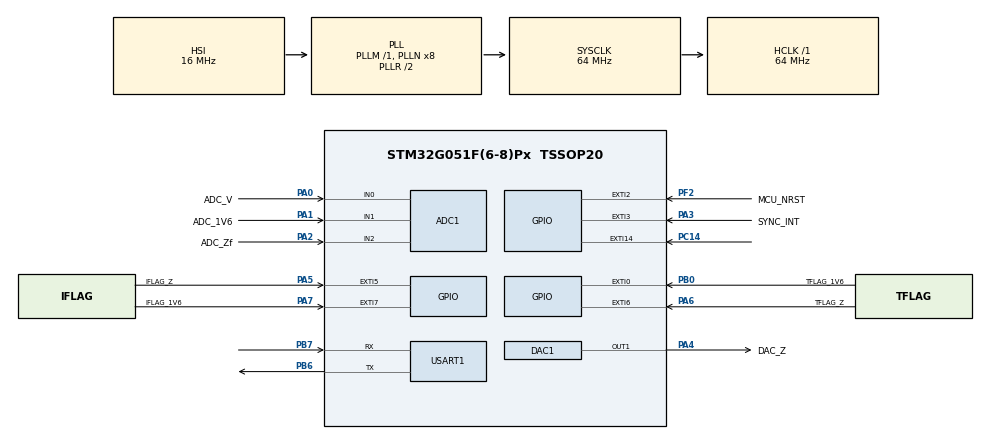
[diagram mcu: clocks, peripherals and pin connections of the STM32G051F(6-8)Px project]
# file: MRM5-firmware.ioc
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ADC1.Channel-0\#ChannelRegularConversion=ADC_CHANNEL_0
ADC1.Channel-1\#ChannelRegularConversion=ADC_CHANNEL_1
ADC1.Channel-2\#ChannelRegularConversion=ADC_CHANNEL_2
ADC1.ContinuousConvMode=ENABLE
ADC1.DMAContinuousRequests=DISABLE
ADC1.DiscontinuousConvMode=DISABLE
ADC1.EOCSelection=ADC_EOC_SEQ_CONV
ADC1.NbrOfConversion=3
ADC1.NbrOfConversionFlag=1
ADC1.Rank-0\#ChannelRegularConversion=1
ADC1.Rank-1\#ChannelRegularConversion=2
ADC1.Rank-2\#ChannelRegularConversion=3
ADC1.SamplingTime-0\#ChannelRegularConversion=ADC_SAMPLINGTIME_COMMON_1
ADC1.SamplingTime-1\#ChannelRegularConversion=ADC_SAMPLINGTIME_COMMON_1
ADC1.SamplingTime-2\#ChannelRegularConversion=ADC_SAMPLINGTIME_COMMON_1
ADC1.SamplingTimeCommon1=ADC_SAMPLETIME_12CYCLES_5
ADC1.SamplingTimeCommon2=ADC_SAMPLETIME_79CYCLES_5
ADC1.SelectedChannel=ADC_CHANNEL_0|ADC_CHANNEL_1|ADC_CHANNEL_2
ADC1.master=1
DAC1.DAC_Channel-DAC_OUT1=DAC_CHANNEL_1
Dma.ADC1.0.Direction=DMA_PERIPH_TO_MEMORY
Dma.ADC1.0.EventEnable=DISABLE
Dma.ADC1.0.Instance=DMA1_Channel1
Dma.ADC1.0.MemDataAlignment=DMA_MDATAALIGN_HALFWORD
Dma.ADC1.0.MemInc=DMA_MINC_ENABLE
Dma.ADC1.0.Mode=DMA_NORMAL
Dma.ADC1.0.PeriphDataAlignment=DMA_PDATAALIGN_HALFWORD
Dma.ADC1.0.PeriphInc=DMA_PINC_DISABLE
Dma.ADC1.0.Polarity=HAL_DMAMUX_REQ_GEN_RISING
Dma.ADC1.0.Priority=DMA_PRIORITY_LOW
Dma.ADC1.0.RequestNumber=1
Dma.ADC1.0.SignalID=NONE
Dma.ADC1.0.SyncEnable=DISABLE
Dma.ADC1.0.SyncPolarity=HAL_DMAMUX_SYNC_NO_EVENT
Dma.ADC1.0.SyncRequestNumber=1
Dma.ADC1.0.SyncSignalID=NONE
Dma.Request0=ADC1
Dma.Request1=USART1_RX
Dma.Request2=USART1_TX
Dma.USART1_RX.1.Direction=DMA_PERIPH_TO_MEMORY
Dma.USART1_RX.1.EventEnable=DISABLE
Dma.USART1_RX.1.Instance=DMA1_Channel2
Dma.USART1_RX.1.MemDataAlignment=DMA_MDATAALIGN_BYTE
Dma.USART1_RX.1.MemInc=DMA_MINC_ENABLE
Dma.USART1_RX.1.Mode=DMA_NORMAL
Dma.USART1_RX.1.PeriphDataAlignment=DMA_PDATAALIGN_BYTE
Dma.USART1_RX.1.PeriphInc=DMA_PINC_DISABLE
Dma.USART1_RX.1.Polarity=HAL_DMAMUX_REQ_GEN_RISING
Dma.USART1_RX.1.Priority=DMA_PRIORITY_LOW
Dma.USART1_RX.1.RequestNumber=1
Dma.USART1_RX.1.SignalID=NONE
Dma.USART1_RX.1.SyncEnable=DISABLE
Dma.USART1_RX.1.SyncPolarity=HAL_DMAMUX_SYNC_NO_EVENT
Dma.USART1_RX.1.SyncRequestNumber=1
Dma.USART1_RX.1.SyncSignalID=NONE
Dma.USART1_TX.2.Direction=DMA_MEMORY_TO_PERIPH
Dma.USART1_TX.2.EventEnable=DISABLE
Dma.USART1_TX.2.Instance=DMA1_Channel3
Dma.USART1_TX.2.MemDataAlignment=DMA_MDATAALIGN_BYTE
Dma.USART1_TX.2.MemInc=DMA_MINC_ENABLE
Dma.USART1_TX.2.Mode=DMA_NORMAL
Dma.USART1_TX.2.PeriphDataAlignment=DMA_PDATAALIGN_BYTE
Dma.USART1_TX.2.PeriphInc=DMA_PINC_DISABLE
Dma.USART1_TX.2.Polarity=HAL_DMAMUX_REQ_GEN_RISING
Dma.USART1_TX.2.Priority=DMA_PRIORITY_LOW
Dma.USART1_TX.2.RequestNumber=1
Dma.USART1_TX.2.SignalID=NONE
Dma.USART1_TX.2.SyncEnable=DISABLE
Dma.USART1_TX.2.SyncPolarity=HAL_DMAMUX_SYNC_NO_EVENT
Dma.USART1_TX.2.SyncRequestNumber=1
Dma.USART1_TX.2.SyncSignalID=NONE
Mcu.Family=STM32G0
Mcu.Name=STM32G051F(6-8)Px
Mcu.Package=TSSOP20
NVIC.ADC1_COMP_IRQn=true\:0\:0\:false\:false\:true\:true\:true\:true
NVIC.DMA1_Channel1_IRQn=true\:0\:0\:false\:false\:true\:false\:true\:true
NVIC.DMA1_Channel2_3_IRQn=true\:0\:0\:false\:false\:true\:false\:true\:true
NVIC.TIM2_IRQn=true\:0\:0\:false\:false\:true\:true\:true\:true
NVIC.USART1_IRQn=true\:0\:0\:false\:false\:true\:true\:true\:true
PA0.GPIO_Label=ADC_V
PA0.Mode=IN0
PA0.Signal=ADC1_IN0
PA1.GPIO_Label=ADC_1V6
PA1.Mode=IN1
PA1.Signal=ADC1_IN1
PA13.Mode=Serial_Wire
PA13.Signal=SYS_SWDIO
PA14-BOOT0.Mode=Serial_Wire
PA14-BOOT0.Signal=SYS_SWCLK
PA14-BOOT0__PA15.StandardMode=true
PA2.GPIO_Label=ADC_Zf
PA2.Mode=IN2
PA2.Signal=ADC1_IN2
PA3.GPIO_Label=SYNC_INT
PA3.Signal=GPXTI3
PA4.GPIO_Label=DAC_Z
PA4.Signal=COMP_DAC11_group
PA5.GPIO_Label=IFLAG_Z
PA5.Signal=GPXTI5
PA6.GPIO_Label=TFLAG_Z
PA6.Signal=GPXTI6
PA7.GPIO_Label=IFLAG_1V6
PA7.Signal=GPXTI7
PB0.GPIO_Label=TFLAG_1V6
PB0.Signal=GPXTI0
PB0__PB1__PB2__PA8.StandardMode=true
PB3__PB4__PB5__PB6.StandardMode=true
PB6.Mode=Asynchronous
PB6.Signal=USART1_TX
PB7.Mode=Asynchronous
PB7.Signal=USART1_RX
PB7__PB8.StandardMode=true
PC14-OSC32_IN\ (PC14).Signal=GPXTI14
PC14-OSC32_IN\ (PC14)__PB9.StandardMode=true
PF2-NRST.GPIO_Label=MCU_NRST
PF2-NRST.Signal=GPXTI2
ProjectManager.HeapSize=0x200
ProjectManager.StackSize=0x400
ProjectManager.TargetToolchain=STM32CubeIDE
RCC.ADCFreq_Value=64000000
RCC.AHBFreq_Value=64000000
RCC.CortexFreq_Value=64000000
RCC.EXTERNAL_CLOCK_VALUE=48000
RCC.HCLKFreq_Value=64000000
RCC.HSE_VALUE=8000000
RCC.HSI_VALUE=16000000
RCC.LSE_VALUE=32768
RCC.SYSCLKFreq_VALUE=64000000
RCC.SYSCLKSource=RCC_SYSCLKSOURCE_PLLCLK
RCC.VCOOutputFreq_Value=128000000
SH.COMP_DAC11_group.0=DAC1_OUT1,DAC_OUT1
TIM2.AutoReloadPreload=TIM_AUTORELOAD_PRELOAD_ENABLE
TIM2.Period=1000000000
TIM2.Prescaler=63
USART1.VirtualMode-Asynchronous=VM_ASYNC
VP_SYS_VS_DBSignals.Mode=DisableDeadBatterySignals
VP_TIM2_VS_ClockSourceINT.Mode=Internal
board=custom

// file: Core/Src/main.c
/* USER CODE BEGIN Header */
/* USER CODE END Header */
#include "main.h"

/* USER CODE BEGIN Includes */
#include <stdio.h>
#include <stdlib.h>
#include <math.h>
#include <string.h>
/* USER CODE END Includes */

/* USER CODE BEGIN PTD */
#define U64_NAN (uint64_t)18446744073709551615
#define RECORD_LEN 500
#define DIFF_STEP 2
#define TIME_MAX 1000000000
#define KEY_BUFLEN 256
#define CFG_ADDRESS 0x800F800

#define PAGE_SIZE 2048
#define CFG_PAGE_INDEX 31

enum {
	CFG_ADDRESS_RMS = 0,
	CFG_ADDRESS_PHASE,
	CFG_ADDRESS_OFFSET,
};

#define CFG_ADDRESS_RMS_INIT  0.0565
#define CFG_ADDRESS_PHASE_INIT  0
#define CFG_ADDRESS_OFFSET_INIT  2048

typedef struct {
	float rms;
	float phase;
	float cfg_rms;
	float cfg_phase;
	float cfg_offset;
} Configs;

typedef struct {
	uint32_t time;
	float val;
} timeData;

typedef struct {
	char keyInput[KEY_BUFLEN];
	int cursor;
	uint32_t keyTimeout;
	int flag_keyInput;
	int flag_uartDMAReady;
	int menuId;
} keyBoard;

typedef struct {
	timeData record[RECORD_LEN];
	timeData dacWrite[RECORD_LEN];
	timeData dacRead[RECORD_LEN];
	int cursor;
} ADCDATA_Records;
/* USER CODE END PTD */

ADC_HandleTypeDef hadc1;
DMA_HandleTypeDef hdma_adc1;

DAC_HandleTypeDef hdac1;

TIM_HandleTypeDef htim2;

UART_HandleTypeDef huart1;
DMA_HandleTypeDef hdma_usart1_rx;
DMA_HandleTypeDef hdma_usart1_tx;

/* USER CODE BEGIN PV */
keyBoard Kb;
ADCDATA_Records Record;
Configs Cfg;

uint16_t adcBuf[8];
uint8_t uartBuf[2]={0,};
uint8_t adcflag = 1;

float *cfg_rms, *cfg_phase;
uint64_t _cfg_rms, _cfg_phase;

/* USER CODE END PV */

void SystemClock_Config(void);
static void MX_GPIO_Init(void);
static void MX_DMA_Init(void);
static void MX_ADC1_Init(void);
static void MX_DAC1_Init(void);
static void MX_USART1_UART_Init(void);
static void MX_TIM2_Init(void);
/* USER CODE BEGIN PFP */

int _write(int file, char *ptr, int len);
uint32_t micros(void);
void FLASH_Words(uint32_t Address, uint64_t Data);
float diffval(ADCDATA_Records *rcd);
float ampNdeg2val(float amp, float deg, ADCDATA_Records *rcd);
uint32_t val2dacData(float val);
void flashWrite(int index, uint64_t value);
float flashRead(int index, float initValue);
void processMenu(keyBoard *_Kb);
void printHelp(keyBoard *_Kb);

/* USER CODE END PFP */

int main(void)
{

  /* USER CODE BEGIN 1 */
	uint32_t dacval = 0;
	float errVal;
	Record.cursor=0;
	Kb.keyTimeout=0;
	Kb.cursor=0;
	Kb.flag_uartDMAReady=0;
	Kb.menuId=0;

	Cfg.rms = 30;
	Cfg.phase = 0;
	Cfg.cfg_rms = flashRead(CFG_ADDRESS_RMS, CFG_ADDRESS_RMS_INIT);
	Cfg.cfg_phase = flashRead(CFG_ADDRESS_PHASE, CFG_ADDRESS_PHASE_INIT);
	Cfg.cfg_offset = flashRead(CFG_ADDRESS_OFFSET, CFG_ADDRESS_OFFSET_INIT);
  /* USER CODE END 1 */

  /* MCU Configuration--------------------------------------------------------*/

  /* Reset of all peripherals, Initializes the Flash interface and the Systick. */
  HAL_Init();

  /* Configure the system clock */
  SystemClock_Config();

  /* Initialize all configured peripherals */
  MX_GPIO_Init();
  MX_DMA_Init();
  MX_ADC1_Init();
  MX_DAC1_Init();
  MX_USART1_UART_Init();
  MX_TIM2_Init();
  /* USER CODE BEGIN 2 */
  HAL_TIM_Base_Start(&htim2);
  printHelp(&Kb);
  /* USER CODE END 2 */

  /* Infinite loop */
  /* USER CODE BEGIN WHILE */
  while(1){
  	  if(adcflag == 1){
   		  adcflag = 0;
   		  Record.record[Record.cursor].time = micros();
   		  Record.record[Record.cursor].val = (float)(adcBuf[0]-adcBuf[1]);

   		  Record.dacRead[Record.cursor].val = (float)(adcBuf[2]-adcBuf[1]);
   		  Record.dacWrite[Record.cursor].val = ampNdeg2val(Cfg.rms, Cfg.phase, &Record);

   		  errVal =  Record.dacWrite[(Record.cursor - 1 + RECORD_LEN)%RECORD_LEN].val - Record.dacRead[Record.cursor].val;
   		  dacval = val2dacData(Record.dacWrite[Record.cursor].val);
   		  HAL_DAC_SetValue(&hdac1, DAC_CHANNEL_1, DAC_ALIGN_12B_R, dacval);
       	  HAL_ADC_Start_DMA(&hadc1, (uint32_t*)adcBuf, 3);
       	  Record.cursor=(Record.cursor + 1)%RECORD_LEN;
   	  }

  	  if((Kb.keyTimeout > HAL_GetTick()) && (Kb.flag_keyInput==1)){
  		  Kb.flag_keyInput = 0;

  		  processMenu(&Kb);

  		  memset(Kb.keyInput,0,KEY_BUFLEN);
  		  Kb.cursor=0;
  		  printHelp(&Kb);
  	  }

  	  if(Kb.flag_uartDMAReady==0){
  		  Kb.flag_uartDMAReady=1;
  		  HAL_UART_Receive_DMA(&huart1, uartBuf, 1);
  	  }
  }
    /* USER CODE END WHILE */

}

void SystemClock_Config(void)
{
  RCC_OscInitTypeDef RCC_OscInitStruct = {0};
  RCC_ClkInitTypeDef RCC_ClkInitStruct = {0};

  /** Configure the main internal regulator output voltage
  */
  HAL_PWREx_ControlVoltageScaling(PWR_REGULATOR_VOLTAGE_SCALE1);

  /** Initializes the RCC Oscillators according to the specified parameters
  * in the RCC_OscInitTypeDef structure.
  */
  RCC_OscInitStruct.OscillatorType = RCC_OSCILLATORTYPE_HSI;
  RCC_OscInitStruct.HSIState = RCC_HSI_ON;
  RCC_OscInitStruct.HSIDiv = RCC_HSI_DIV1;
  RCC_OscInitStruct.HSICalibrationValue = RCC_HSICALIBRATION_DEFAULT;
  RCC_OscInitStruct.PLL.PLLState = RCC_PLL_ON;
  RCC_OscInitStruct.PLL.PLLSource = RCC_PLLSOURCE_HSI;
  RCC_OscInitStruct.PLL.PLLM = RCC_PLLM_DIV1;
  RCC_OscInitStruct.PLL.PLLN = 8;
  RCC_OscInitStruct.PLL.PLLP = RCC_PLLP_DIV2;
  RCC_OscInitStruct.PLL.PLLQ = RCC_PLLQ_DIV2;
  RCC_OscInitStruct.PLL.PLLR = RCC_PLLR_DIV2;
  if (HAL_RCC_OscConfig(&RCC_OscInitStruct) != HAL_OK)
  {
    Error_Handler();
  }

  /** Initializes the CPU, AHB and APB buses clocks
  */
  RCC_ClkInitStruct.ClockType = RCC_CLOCKTYPE_HCLK|RCC_CLOCKTYPE_SYSCLK
                              |RCC_CLOCKTYPE_PCLK1;
  RCC_ClkInitStruct.SYSCLKSource = RCC_SYSCLKSOURCE_PLLCLK;
  RCC_ClkInitStruct.AHBCLKDivider = RCC_SYSCLK_DIV1;
  RCC_ClkInitStruct.APB1CLKDivider = RCC_HCLK_DIV1;

  if (HAL_RCC_ClockConfig(&RCC_ClkInitStruct, FLASH_LATENCY_2) != HAL_OK)
  {
    Error_Handler();
  }
}

static void MX_ADC1_Init(void)
{

  ADC_ChannelConfTypeDef sConfig = {0};

  /** Configure the global features of the ADC (Clock, Resolution, Data Alignment and number of conversion)
  */
  hadc1.Instance = ADC1;
  hadc1.Init.ClockPrescaler = ADC_CLOCK_SYNC_PCLK_DIV2;
  hadc1.Init.Resolution = ADC_RESOLUTION_12B;
  hadc1.Init.DataAlign = ADC_DATAALIGN_RIGHT;
  hadc1.Init.ScanConvMode = ADC_SCAN_ENABLE;
  hadc1.Init.EOCSelection = ADC_EOC_SEQ_CONV;
  hadc1.Init.LowPowerAutoWait = DISABLE;
  hadc1.Init.LowPowerAutoPowerOff = DISABLE;
  hadc1.Init.ContinuousConvMode = ENABLE;
  hadc1.Init.NbrOfConversion = 3;
  hadc1.Init.DiscontinuousConvMode = DISABLE;
  hadc1.Init.ExternalTrigConv = ADC_SOFTWARE_START;
  hadc1.Init.ExternalTrigConvEdge = ADC_EXTERNALTRIGCONVEDGE_NONE;
  hadc1.Init.DMAContinuousRequests = DISABLE;
  hadc1.Init.Overrun = ADC_OVR_DATA_PRESERVED;
  hadc1.Init.SamplingTimeCommon1 = ADC_SAMPLETIME_12CYCLES_5;
  hadc1.Init.SamplingTimeCommon2 = ADC_SAMPLETIME_79CYCLES_5;
  hadc1.Init.OversamplingMode = DISABLE;
  hadc1.Init.TriggerFrequencyMode = ADC_TRIGGER_FREQ_HIGH;
  if (HAL_ADC_Init(&hadc1) != HAL_OK)
  {
    Error_Handler();
  }

  /** Configure Regular Channel
  */
  sConfig.Channel = ADC_CHANNEL_0;
  sConfig.Rank = ADC_REGULAR_RANK_1;
  sConfig.SamplingTime = ADC_SAMPLINGTIME_COMMON_1;
  if (HAL_ADC_ConfigChannel(&hadc1, &sConfig) != HAL_OK)
  {
    Error_Handler();
  }

  /** Configure Regular Channel
  */
  sConfig.Channel = ADC_CHANNEL_1;
  sConfig.Rank = ADC_REGULAR_RANK_2;
  if (HAL_ADC_ConfigChannel(&hadc1, &sConfig) != HAL_OK)
  {
    Error_Handler();
  }

  /** Configure Regular Channel
  */
  sConfig.Channel = ADC_CHANNEL_2;
  sConfig.Rank = ADC_REGULAR_RANK_3;
  if (HAL_ADC_ConfigChannel(&hadc1, &sConfig) != HAL_OK)
  {
    Error_Handler();
  }

}

static void MX_DAC1_Init(void)
{

  DAC_ChannelConfTypeDef sConfig = {0};

  /** DAC Initialization
  */
  hdac1.Instance = DAC1;
  if (HAL_DAC_Init(&hdac1) != HAL_OK)
  {
    Error_Handler();
  }

  /** DAC channel OUT1 config
  */
  sConfig.DAC_SampleAndHold = DAC_SAMPLEANDHOLD_DISABLE;
  sConfig.DAC_Trigger = DAC_TRIGGER_NONE;
  sConfig.DAC_OutputBuffer = DAC_OUTPUTBUFFER_ENABLE;
  sConfig.DAC_ConnectOnChipPeripheral = DAC_CHIPCONNECT_DISABLE;
  sConfig.DAC_UserTrimming = DAC_TRIMMING_FACTORY;
  if (HAL_DAC_ConfigChannel(&hdac1, &sConfig, DAC_CHANNEL_1) != HAL_OK)
  {
    Error_Handler();
  }
  /* USER CODE BEGIN DAC1_Init 2 */
  HAL_DAC_Start(&hdac1, DAC1_CHANNEL_1);
  /* USER CODE END DAC1_Init 2 */

}

static void MX_TIM2_Init(void)
{

  TIM_ClockConfigTypeDef sClockSourceConfig = {0};
  TIM_MasterConfigTypeDef sMasterConfig = {0};

  htim2.Instance = TIM2;
  htim2.Init.Prescaler = 63;
  htim2.Init.CounterMode = TIM_COUNTERMODE_UP;
  htim2.Init.Period = 1000000000;
  htim2.Init.ClockDivision = TIM_CLOCKDIVISION_DIV1;
  htim2.Init.AutoReloadPreload = TIM_AUTORELOAD_PRELOAD_ENABLE;
  if (HAL_TIM_Base_Init(&htim2) != HAL_OK)
  {
    Error_Handler();
  }
  sClockSourceConfig.ClockSource = TIM_CLOCKSOURCE_INTERNAL;
  if (HAL_TIM_ConfigClockSource(&htim2, &sClockSourceConfig) != HAL_OK)
  {
    Error_Handler();
  }
  sMasterConfig.MasterOutputTrigger = TIM_TRGO_RESET;
  sMasterConfig.MasterSlaveMode = TIM_MASTERSLAVEMODE_DISABLE;
  if (HAL_TIMEx_MasterConfigSynchronization(&htim2, &sMasterConfig) != HAL_OK)
  {
    Error_Handler();
  }

}

static void MX_USART1_UART_Init(void)
{

  huart1.Instance = USART1;
  huart1.Init.BaudRate = 115200;
  huart1.Init.WordLength = UART_WORDLENGTH_8B;
  huart1.Init.StopBits = UART_STOPBITS_1;
  huart1.Init.Parity = UART_PARITY_NONE;
  huart1.Init.Mode = UART_MODE_TX_RX;
  huart1.Init.HwFlowCtl = UART_HWCONTROL_NONE;
  huart1.Init.OverSampling = UART_OVERSAMPLING_16;
  huart1.Init.OneBitSampling = UART_ONE_BIT_SAMPLE_DISABLE;
  huart1.Init.ClockPrescaler = UART_PRESCALER_DIV1;
  huart1.AdvancedInit.AdvFeatureInit = UART_ADVFEATURE_NO_INIT;
  if (HAL_UART_Init(&huart1) != HAL_OK)
  {
    Error_Handler();
  }
  if (HAL_UARTEx_SetTxFifoThreshold(&huart1, UART_TXFIFO_THRESHOLD_1_8) != HAL_OK)
  {
    Error_Handler();
  }
  if (HAL_UARTEx_SetRxFifoThreshold(&huart1, UART_RXFIFO_THRESHOLD_1_8) != HAL_OK)
  {
    Error_Handler();
  }
  if (HAL_UARTEx_DisableFifoMode(&huart1) != HAL_OK)
  {
    Error_Handler();
  }

}

static void MX_DMA_Init(void)
{

  /* DMA controller clock enable */
  __HAL_RCC_DMA1_CLK_ENABLE();

  /* DMA interrupt init */
  /* DMA1_Channel1_IRQn interrupt configuration */
  HAL_NVIC_SetPriority(DMA1_Channel1_IRQn, 0, 0);
  HAL_NVIC_EnableIRQ(DMA1_Channel1_IRQn);
  /* DMA1_Channel2_3_IRQn interrupt configuration */
  HAL_NVIC_SetPriority(DMA1_Channel2_3_IRQn, 0, 0);
  HAL_NVIC_EnableIRQ(DMA1_Channel2_3_IRQn);

}

static void MX_GPIO_Init(void)
{
  GPIO_InitTypeDef GPIO_InitStruct = {0};

  /* GPIO Ports Clock Enable */
  __HAL_RCC_GPIOB_CLK_ENABLE();
  __HAL_RCC_GPIOC_CLK_ENABLE();
  __HAL_RCC_GPIOF_CLK_ENABLE();
  __HAL_RCC_GPIOA_CLK_ENABLE();

  /*Configure GPIO pin : PC14 */
  GPIO_InitStruct.Pin = GPIO_PIN_14;
  GPIO_InitStruct.Mode = GPIO_MODE_IT_RISING;
  GPIO_InitStruct.Pull = GPIO_NOPULL;
  HAL_GPIO_Init(GPIOC, &GPIO_InitStruct);

  /*Configure GPIO pin : MCU_NRST_Pin */
  GPIO_InitStruct.Pin = MCU_NRST_Pin;
  GPIO_InitStruct.Mode = GPIO_MODE_IT_RISING;
  GPIO_InitStruct.Pull = GPIO_NOPULL;
  HAL_GPIO_Init(MCU_NRST_GPIO_Port, &GPIO_InitStruct);

  /*Configure GPIO pins : SYNC_INT_Pin IFLAG_Z_Pin TFLAG_Z_Pin IFLAG_1V6_Pin */
  GPIO_InitStruct.Pin = SYNC_INT_Pin|IFLAG_Z_Pin|TFLAG_Z_Pin|IFLAG_1V6_Pin;
  GPIO_InitStruct.Mode = GPIO_MODE_IT_RISING;
  GPIO_InitStruct.Pull = GPIO_NOPULL;
  HAL_GPIO_Init(GPIOA, &GPIO_InitStruct);

  /*Configure GPIO pin : TFLAG_1V6_Pin */
  GPIO_InitStruct.Pin = TFLAG_1V6_Pin;
  GPIO_InitStruct.Mode = GPIO_MODE_IT_RISING;
  GPIO_InitStruct.Pull = GPIO_NOPULL;
  HAL_GPIO_Init(TFLAG_1V6_GPIO_Port, &GPIO_InitStruct);

}

/* USER CODE BEGIN 4 */

void HAL_ADC_ConvCpltCallback(ADC_HandleTypeDef *hadc)
{
	adcflag = 1;
}

void HAL_UART_RxCpltCallback(UART_HandleTypeDef *huart)
{
	if(huart->Instance == USART1){
		Kb.keyTimeout = HAL_GetTick()+30000;
		if(uartBuf[0] == (uint8_t)'\n' || uartBuf[0] == (uint8_t)'\r'){
			Kb.flag_keyInput=1;
		}else{
			Kb.keyInput[Kb.cursor++]=uartBuf[0];
		}
		Kb.flag_uartDMAReady=0;
	}
}

int _write(int file, char *ptr, int len)
{
  HAL_UART_Transmit(&huart1, (uint8_t*)ptr, len, len);
  return len;
}

uint32_t micros(void) {
    return __HAL_TIM_GET_COUNTER(&htim2);  // TIM2 카운터 값 읽기
}

void FLASH_Words(uint32_t Address, uint64_t Data)
{
  SET_BIT(FLASH->CR, FLASH_CR_PG);
  *(uint32_t *)Address = (uint32_t)Data;
  __ISB();
  *(uint32_t *)(Address + 4U) = (uint32_t)(Data >> 32U);
}

float diffval(ADCDATA_Records *rcd){
	int idx0, idx1;
	float result;
	idx1 = (rcd->cursor+RECORD_LEN-1*DIFF_STEP-1)%RECORD_LEN;
	idx0 = (rcd->cursor+RECORD_LEN-0*DIFF_STEP-1)%RECORD_LEN;
	uint32_t difftime = (rcd->record[idx0].time + TIME_MAX - rcd->record[idx1].time) % TIME_MAX;
	float diffval = (rcd->record[idx0].val - rcd->record[idx1].val);
	result = diffval * 3000 / (float)difftime;
	if(difftime == 0){
		return 0;
	}
	return result;
}

float ampNdeg2val(float amp, float deg, ADCDATA_Records *rcd){
	int idx1 = rcd->cursor;
	int phase = Cfg.cfg_phase;
	float phase_mini = Cfg.cfg_phase - (float)phase;

	int idx_offset1 = (idx1 - (phase%RECORD_LEN) + RECORD_LEN)%RECORD_LEN;
	int idx_offset2 = (idx1 - 1 - (phase%RECORD_LEN) + RECORD_LEN)%RECORD_LEN;

	float val = rcd->record[idx_offset1].val*phase_mini + rcd->record[idx_offset2].val*(1-phase_mini);
	float a, b;
	a = amp * Cfg.cfg_rms * sqrt(2) * cos(M_PI * deg / 180.0f);
	b = amp * Cfg.cfg_rms * sqrt(2) * sin(M_PI * deg / 180.0f);
	float result = a * val + b * diffval(&Record);
	return result;
}

uint32_t val2dacData(float val){
	uint32_t result;
	result = (uint32_t)val + (uint32_t)Cfg.cfg_offset;
	if(result < 0) return 0;
	if(result > 4095) return 4095;
	return result;
}

void flashWrite(int index, uint64_t value){
	static int DoubleWordsNum = PAGE_SIZE/8;
	uint64_t cfg_datas[DoubleWordsNum];
	memcpy(cfg_datas, (void*)CFG_ADDRESS, PAGE_SIZE);
	cfg_datas[index] = value;

	HAL_FLASH_Unlock();

	FLASH_EraseInitTypeDef eraseInitStruct;
	uint32_t pageError = 0;
	eraseInitStruct.TypeErase = FLASH_TYPEERASE_PAGES;
	eraseInitStruct.Page = CFG_PAGE_INDEX;
	eraseInitStruct.NbPages = 1;

	if (HAL_FLASHEx_Erase(&eraseInitStruct, &pageError) != HAL_OK) {
		HAL_FLASH_Lock();
		return;
	}
	for(int i=0;i<DoubleWordsNum;i++){
		HAL_FLASH_Program(FLASH_TYPEPROGRAM_DOUBLEWORD, CFG_ADDRESS + sizeof(uint64_t)*i, cfg_datas[i]);
	}
	HAL_FLASH_Lock();
}

float flashRead(int index, float initValue){
	uint64_t val;
	float *_val = (float*)&val;
	*_val = initValue;
	uint64_t cfg_datas[256];
	float *result;
	memcpy(cfg_datas, (void*)CFG_ADDRESS, 2048);
	result = (float*)&cfg_datas[index];
	if(cfg_datas[index] == U64_NAN){
		flashWrite(index, val);
		return initValue;
	}else{
		return *result;
	}
}

void processMenu(keyBoard *_Kb){
	uint64_t val;
	float result;
	float *value = (float*)&val;

	switch(_Kb->menuId){
	case 0:
		if(atoi(_Kb->keyInput)==1){
			_Kb->menuId=1;
		}else if(atoi(_Kb->keyInput)==2){
			_Kb->menuId=2;
		}else if(atoi(_Kb->keyInput)==3){
			_Kb->menuId=3;
		}else if(atoi(_Kb->keyInput)==4){
			_Kb->menuId=4;
		}else if(atoi(_Kb->keyInput)==5){
			_Kb->menuId=5;
		}else if(_Kb->keyInput[0]=='r'){
			printf("System Reset!\r\n");
			NVIC_SystemReset();
		}else{
			printf("Input Error\r\n");
		}
		break;
	case 1:
		Cfg.rms = atof(_Kb->keyInput);
		_Kb->menuId=0;
		printf("RMS set to %f\r\n", Cfg.rms);
		break;
	case 2:
		Cfg.phase = atof(_Kb->keyInput);
		_Kb->menuId=0;
		printf("Phase set to %f\r\n", Cfg.phase);
		break;
	case 3:
		*value = atof(_Kb->keyInput);
		flashWrite(CFG_ADDRESS_RMS, val);
		result = flashRead(CFG_ADDRESS_RMS, CFG_ADDRESS_RMS_INIT);
		printf("Config RMS set to %f\r\n", result);
		_Kb->menuId=0;
		Cfg.cfg_rms = flashRead(CFG_ADDRESS_RMS, CFG_ADDRESS_RMS_INIT);
		break;
	case 4:
		*value = atof(_Kb->keyInput);
		flashWrite(CFG_ADDRESS_PHASE, val);
		result = flashRead(CFG_ADDRESS_PHASE, CFG_ADDRESS_PHASE_INIT);
		printf("Config PHASE Shift Number set to %f\r\n", result);
		_Kb->menuId=0;
		Cfg.cfg_phase = flashRead(CFG_ADDRESS_PHASE, CFG_ADDRESS_PHASE_INIT);
		break;
	case 5:
		*value = atof(_Kb->keyInput);
		flashWrite(CFG_ADDRESS_OFFSET, val);
		result = flashRead(CFG_ADDRESS_OFFSET, CFG_ADDRESS_OFFSET_INIT);
		printf("Config OFFSET set to %f\r\n", result);
		_Kb->menuId=0;
		Cfg.cfg_offset = flashRead(CFG_ADDRESS_OFFSET, CFG_ADDRESS_OFFSET_INIT);
		break;
	default:
		break;
	}
}

void printHelp(keyBoard *_Kb){
	switch(_Kb->menuId){
	case 0:
		if(Cfg.cfg_rms < 0 || Cfg.cfg_rms > 1000) Cfg.cfg_rms = 0.0083;
		printf("\e[2J\e[H");
		printf("[Calibaba v1.0]\r\n"); // 0
		printf("1. Config Output RMS(mA) [%f]\r\n", Cfg.rms); // 1
		printf("2. Config Output Phase(Deg.) [%f]\r\n", Cfg.phase); // 2
		printf("3. Calibrate RMS(mA) [%f]\r\n", Cfg.cfg_rms); // 3
		printf("4. Calibrate PHASE Shift(Step) [%f]\r\n", Cfg.cfg_phase); // 4
		printf("5. Calibrate OFFSET [%f]\r\n", Cfg.cfg_offset); // 5
		break;
	case 1:
		printf("Input RMS(mA) : \r\n"); //
		break;
	case 2:
		printf("Input Phase(Deg.) : \r\n"); //
		break;
	case 3:
		printf("Input Config RMS Value(mA) : \r\n"); //
		break;
	case 4:
		printf("Input Config PHASE Shift Value(Step) : \r\n"); //
		break;
	case 5:
		printf("Input Config Offset : \r\n"); //
		break;
	default:
		break;
	}
}
/* USER CODE END 4 */

void Error_Handler(void)
{
}
